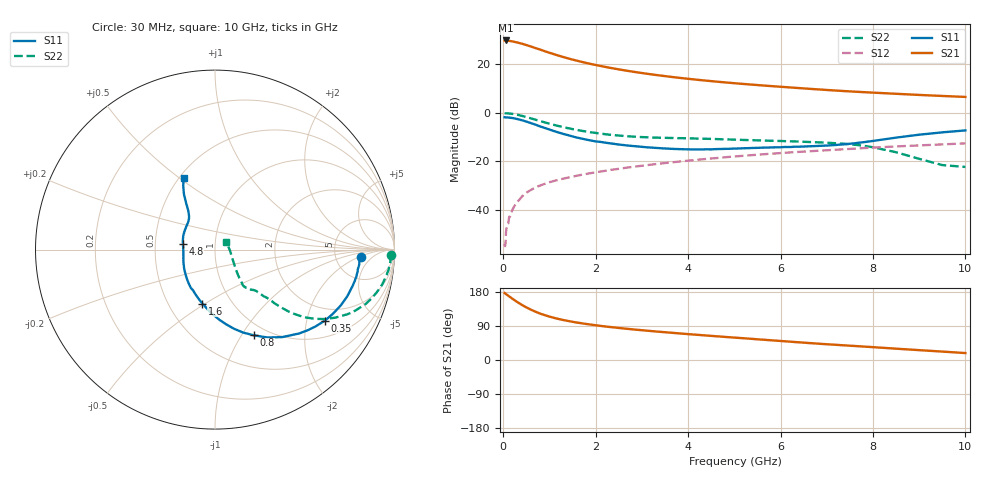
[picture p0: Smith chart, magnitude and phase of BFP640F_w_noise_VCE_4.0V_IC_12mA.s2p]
! Infineon Technologies  Discrete & RF Semiconductors
! BFP640F
! VCE =  4.0 V,  IC =  12 mA
! Common Emitter S-Parameters:  Apr 2013
# GHz  S  MA  R  50
!  f  S11  S21  S12  S22
! GHz  MAG  ANG  MAG  ANG  MAG  ANG  MAG  ANG
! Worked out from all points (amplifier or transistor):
!   99 points, 30 MHz to 10 GHz, reference 50 ohm
!   highest |S21| = 29.8 dB at 50 MHz (marker M1)
!   |S21| within 3 dB of that: start of sweep to 676.4 MHz
!   unconditionally stable (mu >= 1): 2.78 GHz to end of sweep
!   at 350 MHz: K = 0.26, MSG = 32.2 dB, |S12| = -35.8 dB
!   at 3.5 GHz: K = 1.04, MAG = 16.7 dB, |S12| = -20.7 dB
!   at 10 GHz: K = 1.06, MAG = 8.0 dB, |S12| = -12.6 dB
!   lowest NFmin = 0.68 dB at 450 MHz
!   S11 on the Smith chart (normalised r, x): 30 MHz: 9.15, -2.13; 350 MHz: 1.53, -2.58; 800 MHz: 0.86, -1.13; 1.6 GHz: 0.73, -0.49; 4.8 GHz: 0.70, +0.04; 10 GHz: 0.53, +0.52
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0.03  0.8122 -2.8  30.69 176.7  0.002 52.8  0.9802 -1.6
0.05  0.8067 -4.7  30.93 175.0  0.0021 105.1  0.9779 -2.7
0.12  0.7992 -11.8  30.4 168.6  0.0063 76.7  0.9717 -7.2
0.2  0.7814 -19.5  29.56 161.6  0.0102 75.1  0.9511 -11.9
0.3  0.7478 -28.6  28.17 153.3  0.0146 74.3  0.914 -17.3
0.35  0.7288 -32.9  27.33 149.5  0.0163 73.8  0.8928 -19.8
0.4  0.7056 -37.3  26.66 145.6  0.0187 72.2  0.8681 -22.0
0.5  0.6614 -45.0  24.87 138.9  0.0227 70.3  0.8199 -26.1
0.6  0.6145 -52.5  23.19 132.8  0.0259 69.1  0.7701 -29.5
0.8  0.5245 -65.6  20.04 122.3  0.032 65.5  0.6778 -34.7
1  0.4535 -76.5  17.26 114.6  0.0373 63.3  0.5987 -38.0
1.2  0.3935 -86.1  15.04 108.2  0.0419 62.0  0.5351 -40.1
1.4  0.348 -94.7  13.24 103.1  0.0464 61.4  0.4837 -41.3
1.6  0.3087 -103.1  11.82 98.7  0.0509 60.9  0.4447 -42.1
1.7  0.2948 -106.8  11.2 96.9  0.0532 60.5  0.4262 -42.2
2.3  0.2365 -128.8  8.493 87.2  0.0664 59.3  0.3547 -44.2
3.4  0.1873 -160.2  5.862 74.3  0.0903 56.5  0.3071 -46.9
4.8  0.1814 170.2  4.237 60.9  0.1217 51.4  0.2845 -50.0
5.1  0.1848 165.2  4.005 58.3  0.1284 50.2  0.2789 -50.5
6.7  0.2061 140.2  3.092 44.1  0.1634 42.6  0.2497 -51.9
8.5  0.309 121.6  2.468 29.9  0.2035 33.7  0.1545 -42.5
10  0.4348 113.7  2.127 18.3  0.2352 25.6  0.0769 33.9
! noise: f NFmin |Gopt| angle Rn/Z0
0.45  0.68  0.14  8  0.05
0.9  0.68  0.15  19  0.06
1.5  0.69  0.14  28  0.07
1.9  0.7  0.12  43  0.07
2.4  0.73  0.11  55  0.08
3.5  0.82  0.09  90  0.09
5.5  1.01  0.13  -164  0.12
10  1.55  0.4  -95  0.34
